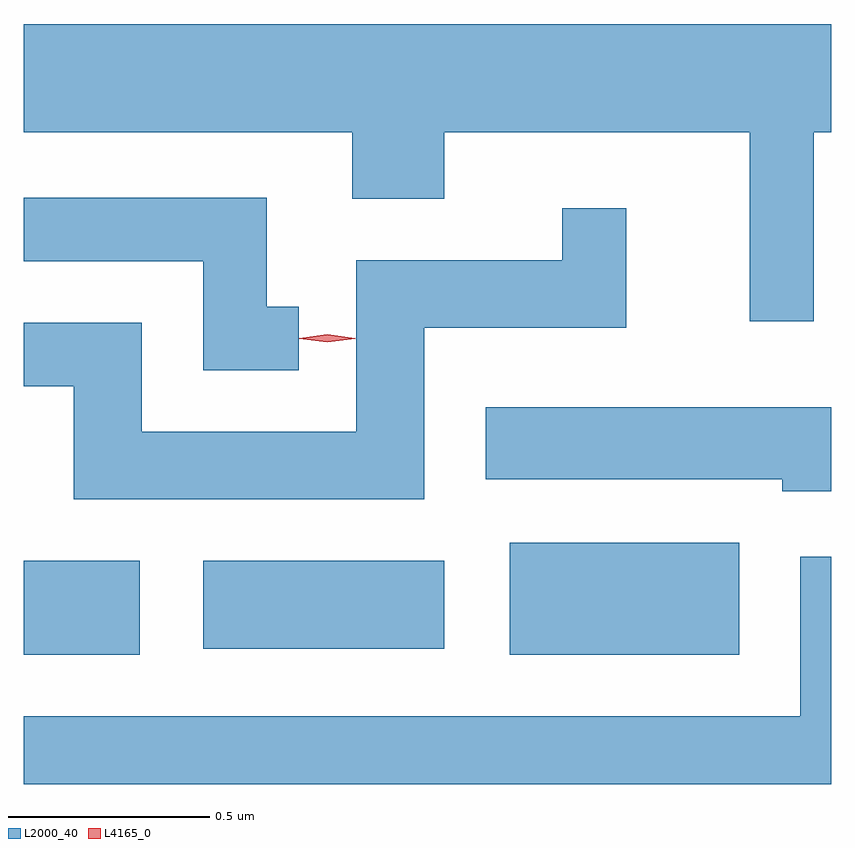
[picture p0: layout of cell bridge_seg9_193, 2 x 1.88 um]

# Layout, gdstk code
import gdstk
lib = gdstk.Library(unit=1e-6, precision=1e-09)
def R(c, l, rs):  # rectangles x0, y0, x1, y1
    for r in rs: c.add(gdstk.rectangle(r[:2], r[2:], *l))
def P(c, l, *ps):  # polygons
    for p in ps: c.add(gdstk.Polygon(p, *l))
L2000_40 = (2000, 40)
L4165_0 = (4165, 0)

bridge_seg9_193 = lib.new_cell('bridge_seg9_193')
R(bridge_seg9_193, L2000_40, [(1102.127,2077.101,1102.414,2077.334), (1103.331,2077.101,1103.899,2077.379), (1102.571,2077.116,1103.169,2077.334)])
P(bridge_seg9_193, L2000_40, [(1104.084,2078.396),(1104.127,2078.396),(1104.127,2078.664),(1102.127,2078.664),(1102.127,2078.396),(1102.941,2078.396),(1102.941,2078.231),(1103.169,2078.231),(1103.169,2078.396),(1103.926,2078.396),(1103.926,2077.928),(1104.084,2077.928)],
  [(1102.808,2077.964),(1102.729,2077.964),(1102.729,2078.234),(1102.127,2078.234),(1102.127,2078.076),(1102.571,2078.076),(1102.571,2077.806),(1102.808,2077.806)],
  [(1103.119,2077.911),(1103.619,2077.911),(1103.619,2078.208),(1103.461,2078.208),(1103.461,2078.079),(1102.951,2078.079),(1102.951,2077.654),(1102.419,2077.654),(1102.419,2077.924),(1102.127,2077.924),(1102.127,2077.766),(1102.251,2077.766),(1102.251,2077.486),(1103.119,2077.486)],
  [(1104.127,2077.714),(1103.271,2077.714),(1103.271,2077.536),(1104.006,2077.536),(1104.006,2077.506),(1104.127,2077.506)],
  [(1104.127,2077.344),(1104.051,2077.344),(1104.051,2076.949),(1102.127,2076.949),(1102.127,2076.781),(1104.127,2076.781)])
P(bridge_seg9_193, L4165_0, [(1102.878,2077.875),(1102.809,2077.884),(1102.809,2077.885),(1102.809,2077.885),(1102.878,2077.895),(1102.948,2077.885),(1102.948,2077.885),(1102.948,2077.884)])

lib.write_gds('bridge_seg9_193.gds')
